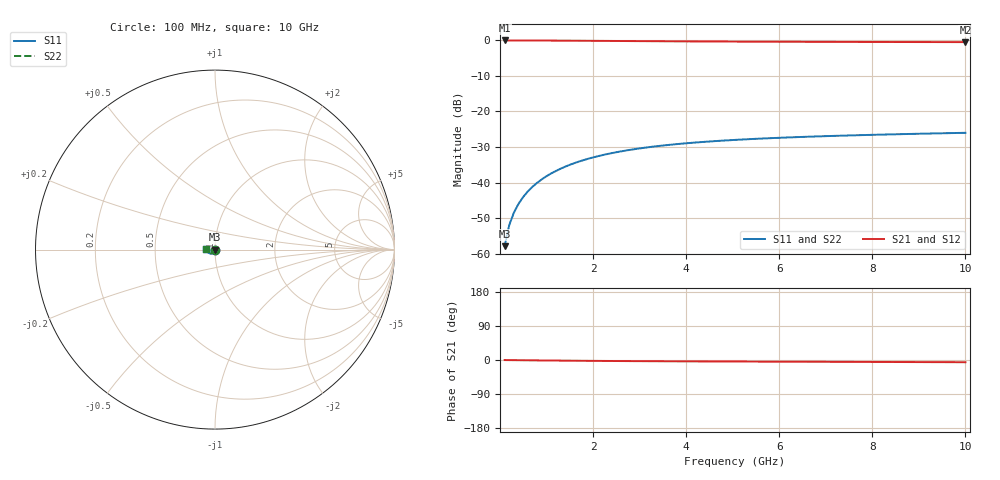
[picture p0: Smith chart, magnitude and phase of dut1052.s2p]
! Touchstone file exported from HFSS 2024.1.0
!  File:  C:/UserFiles/LocalFiles/RDL_TSV_Batchsim/temp_TSV1_1052_1780062720.aedt
!  Generated:  09:56:55 PM May 29, 2026
!  Design:  TSV1
!  Project:  temp_TSV1_1052_1780062720
!  Setup:  Setup1
!  Solution:  Sweep
! Variables:
!  dtsv = 8.98um
!  hbump = 3um
!  htsv = 93.13um
!  lrdl = 252.1521522um
!  p = 40
!  p1 = 46.68um
!  t = 500um
!  trdl = 3um
!  wrdl = 24.89489489um
# GHz S MA R 50.000000
! Terminal data exported
! Port[1] = TSV22_T1
! Port[2] = TSV22_T2
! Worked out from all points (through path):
!   100 points, 100 MHz to 10 GHz, reference 50 ohm
!   highest |S21| = 0.00 dB at 100 MHz (marker M1); lowest = -0.5 dB at 10 GHz (marker M2)
!   lowest |S11| = -57.9 dB at 100 MHz (marker M3), VSWR 1.00, Z = 50 - j0.126 ohm
!   |S11| at or under -10 dB: start of sweep to end of sweep
!   |S22| runs from -57.9 to -26.0 dB; largest |S21 - S12| = 4.2e-15
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0.1  0.00127 -82.7  0.9998 -0.1  0.9998 -0.1  0.00127 -82.7
! Gamma 0 0 0 0
! Port Impedance 50 0 50 0
0.2  0.00252 -88.7  0.9996 -0.3  0.9996 -0.3  0.00252 -88.7
0.3  0.003775 -91.9  0.9994 -0.4  0.9994 -0.4  0.003775 -91.9
0.4  0.005027 -94.3  0.9991 -0.5  0.9991 -0.5  0.005027 -94.3
0.5  0.006271 -96.5  0.9988 -0.7  0.9988 -0.7  0.006271 -96.5
0.6  0.007504 -98.5  0.9984 -0.8  0.9984 -0.8  0.007504 -98.5
0.7  0.008722 -100.5  0.9979 -0.9  0.9979 -0.9  0.008722 -100.5
0.8  0.009924 -102.3  0.9974 -1.0  0.9974 -1.0  0.009924 -102.3
0.9  0.01111 -104.1  0.9968 -1.2  0.9968 -1.2  0.01111 -104.1
1.1  0.01341 -107.6  0.9954 -1.4  0.9954 -1.4  0.01341 -107.6
1.4  0.01669 -112.5  0.9931 -1.7  0.9931 -1.7  0.01669 -112.5
1.6  0.01875 -115.7  0.9914 -1.9  0.9914 -1.9  0.01875 -115.7
1.8  0.02071 -118.7  0.9896 -2.1  0.9896 -2.1  0.02071 -118.7
2.1  0.02343 -123.0  0.9868 -2.4  0.9868 -2.4  0.02343 -123.0
2.5  0.02669 -128.4  0.983 -2.7  0.983 -2.7  0.02669 -128.4
2.9  0.02954 -133.4  0.9793 -3.0  0.9793 -3.0  0.02954 -133.4
3.4  0.03261 -139.0  0.975 -3.3  0.975 -3.3  0.03261 -139.0
4.2  0.03656 -146.9  0.9689 -3.7  0.9689 -3.7  0.03656 -146.9
5.1  0.03996 -154.5  0.9633 -4.1  0.9633 -4.1  0.03996 -154.5
6.7  0.0443 -165.4  0.9561 -4.7  0.9561 -4.7  0.0443 -165.4
8.4  0.0476 -174.8  0.9509 -5.3  0.9509 -5.3  0.0476 -174.8
10  0.05008 177.9  0.9475 -5.9  0.9475 -5.9  0.05008 177.9
